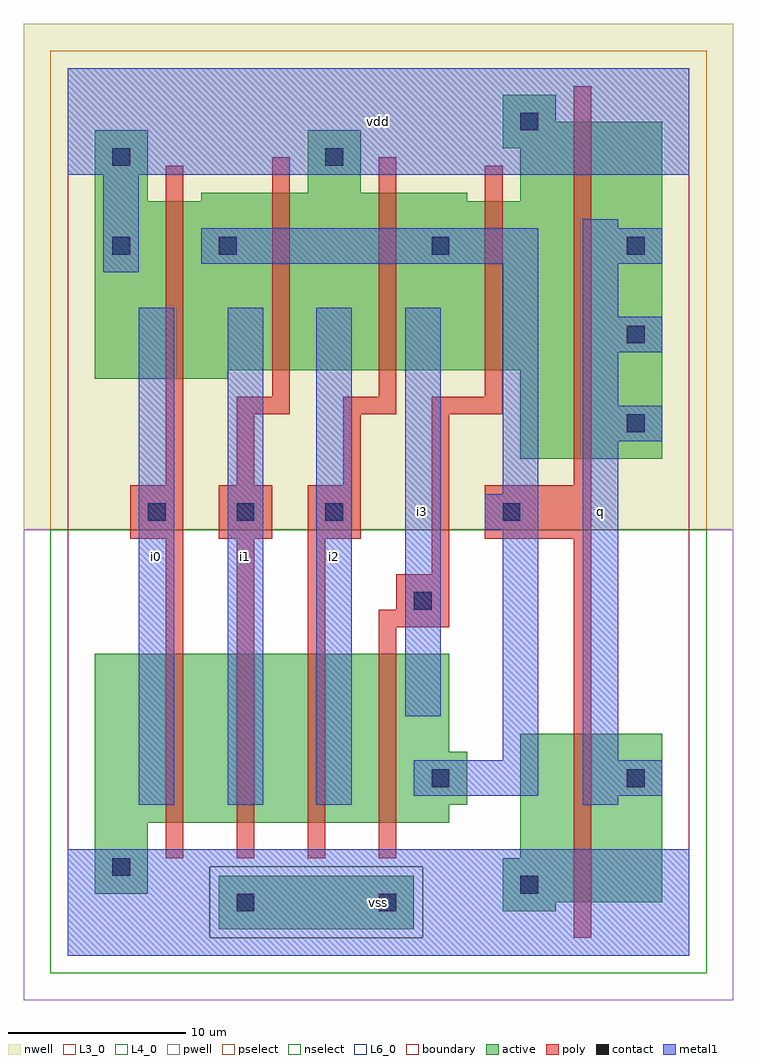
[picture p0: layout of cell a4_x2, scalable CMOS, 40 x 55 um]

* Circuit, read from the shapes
.subckt a4_x2 i0 i1 i2 i3 q vdd vss
M1 n1 i0 vss vss nfet w=9.5u l=1u
M2 n2 i1 n1 vss nfet w=9.5u l=1u
M3 n3 i2 n2 vss nfet w=9.5u l=1u
M4 n4 i3 n3 vss nfet w=9.5u l=1u
M5 q n4 vss vss nfet w=9.5u l=1u
M6 n4 i0 vdd n5 pfet w=10u l=1u
M7 vdd i1 n4 n5 pfet w=10u l=1u
M8 n4 i2 vdd n5 pfet w=10u l=1u
M9 vdd i3 n4 n5 pfet w=9.5u l=1u
M10 q n4 vdd n5 pfet w=19u l=1u
.ends

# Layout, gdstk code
import gdstk
lib = gdstk.Library(unit=1e-6, precision=1e-09)
def R(c, l, rs):  # rectangles x0, y0, x1, y1
    for r in rs: c.add(gdstk.rectangle(r[:2], r[2:], *l))
def A(c, l, x, y, w, h, nx, ny, dx, dy):  # array of equal rectangles
    R(c, l, [(x+i*dx, y+j*dy, x+i*dx+w, y+j*dy+h) for i in range(nx) for j in range(ny)])
L3_0 = (3, 0)
L4_0 = (4, 0)
L6_0 = (6, 0)
contact = (25, 0)
pwell = (41, 0)
nwell = (42, 0)
active = (43, 0)
pselect = (44, 0)
nselect = (45, 0)
poly = (46, 0)
metal1 = (49, 0)
boundary = (63, 0)

a4_x2 = lib.new_cell('a4_x2')
R(a4_x2, L3_0, [(24.5,2.5,27.5,3), (24.5,3,33.5,5.5), (1.5,3.5,4.5,7.5), (25.5,5.5,33.5,12.5), (1.5,7.5,21.5,8.5), (1.5,8.5,22.5,11.5), (1.5,11.5,21.5,17)])
R(a4_x2, L4_0, [(25.5,28,33.5,33), (1.5,32.5,9,33), (1.5,33,33.5,42.5), (1.5,42.5,4.5,46.5), (7.5,42.5,22.5,43), (25.5,42.5,33.5,45.5), (13.5,43,16.5,46.5), (24.5,45.5,33.5,47), (24.5,47,27.5,48.5)])
R(a4_x2, L6_0, [(8.5,1.5,19.5,4.5)])
A(a4_x2, contact, 4.5, 24.5, 1, 1, 3, 1, 5, 0)
A(a4_x2, contact, 31.5, 29.5, 1, 1, 1, 3, 0, 5)
R(a4_x2, contact, [(9.5,2.5,10.5,3.5), (17.5,2.5,18.5,3.5), (25.5,3.5,26.5,4.5), (2.5,4.5,3.5,5.5), (20.5,9.5,21.5,10.5), (31.5,9.5,32.5,10.5), (19.5,19.5,20.5,20.5), (24.5,24.5,25.5,25.5), (2.5,39.5,3.5,40.5), (8.5,39.5,9.5,40.5), (20.5,39.5,21.5,40.5), (2.5,44.5,3.5,45.5), (14.5,44.5,15.5,45.5), (25.5,46.5,26.5,47.5)])
R(a4_x2, pwell, [(-2.5,-2.5,37.5,24)])
R(a4_x2, nwell, [(-2.5,24,37.5,52.5)])
R(a4_x2, active, [(8.5,1.5,19.5,4.5), (24.5,2.5,27.5,3), (24.5,3,33.5,5.5), (1.5,3.5,4.5,7.5), (25.5,5.5,33.5,12.5), (1.5,7.5,21.5,8.5), (1.5,8.5,22.5,11.5), (1.5,11.5,21.5,17), (25.5,28,33.5,33), (1.5,32.5,9,33), (1.5,33,33.5,42.5), (1.5,42.5,4.5,46.5), (7.5,42.5,22.5,43), (25.5,42.5,33.5,45.5), (13.5,43,16.5,46.5), (24.5,45.5,33.5,47), (24.5,47,27.5,48.5)])
R(a4_x2, pselect, [(8,1,20,5), (-1,24,36,51)])
R(a4_x2, nselect, [(-1,-1,36,1), (-1,1,8,5), (20,1,36,5), (-1,5,36,24)])
A(a4_x2, poly, 5.5, 5.5, 1, 18, 3, 1, 4, 0)
A(a4_x2, poly, 3.5, 23.5, 3, 3, 3, 1, 5, 0)
R(a4_x2, poly, [(28.5,1,29.5,23.5), (17.5,5.5,18.5,18.5), (17.5,18.5,21.5,19.5), (18.5,19.5,21.5,21.5), (20.5,21.5,21.5,30.5), (23.5,23.5,29.5,26.5), (5.5,26.5,6.5,44.5), (9.5,26.5,10.5,30.5), (15.5,26.5,16.5,30.5), (28.5,26.5,29.5,49), (9.5,30.5,12.5,31.5), (15.5,30.5,18.5,31.5), (20.5,30.5,24.5,31.5), (11.5,31.5,12.5,45), (17.5,31.5,18.5,45), (23.5,31.5,24.5,44.5)])
R(a4_x2, metal1, [(0,0,35,6), (0,0,35,6), (4,8.5,6,36.5), (4,8.5,6,36.5), (9,8.5,11,36.5), (9,8.5,11,36.5), (14,8.5,16,36.5), (14,8.5,16,36.5), (29,8.5,31,9), (29,8.5,31,9), (19.5,9,26.5,11), (19.5,9,26.5,11), (29,9,33.5,11), (29,9,33.5,11), (24.5,11,26.5,24), (24.5,11,26.5,24), (29,11,31,29), (29,11,31,29), (19,13.5,21,36.5), (19,13.5,21,36.5), (23.5,24,26.5,26), (23.5,24,26.5,26), (24.5,26,26.5,39), (24.5,26,26.5,39), (29,29,33.5,31), (29,29,33.5,31), (29,31,31,34), (29,31,31,34), (29,34,33.5,36), (29,34,33.5,36), (29,36,31,39), (29,36,31,39), (2,38.5,4,44), (2,38.5,4,44), (7.5,39,26.5,41), (7.5,39,26.5,41), (29,39,33.5,41), (29,39,33.5,41), (29,41,31,41.5), (29,41,31,41.5), (0,44,35,50), (0,44,35,50)])
R(a4_x2, boundary, [(0,0,35,50)])
a4_x2.add(gdstk.Label('i0', (5,22.5), layer=49, texttype=0))
a4_x2.add(gdstk.Label('i1', (10,22.5), layer=49, texttype=0))
a4_x2.add(gdstk.Label('i2', (15,22.5), layer=49, texttype=0))
a4_x2.add(gdstk.Label('vss', (17.5,3), layer=49, texttype=0))
a4_x2.add(gdstk.Label('i3', (20,25), layer=49, texttype=0))
a4_x2.add(gdstk.Label('vdd', (17.5,47), layer=49, texttype=0))
a4_x2.add(gdstk.Label('q', (30,25), layer=49, texttype=0))

lib.write_gds('a4_x2.gds')
